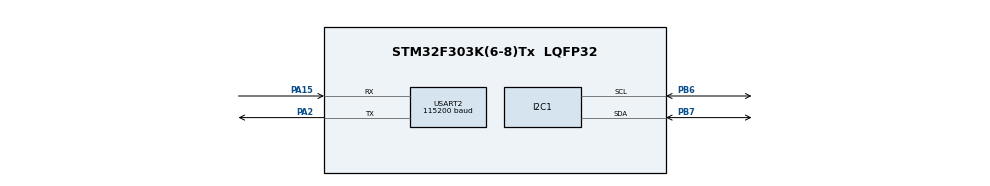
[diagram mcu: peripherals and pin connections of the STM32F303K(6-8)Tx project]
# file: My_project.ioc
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Dma.Request0=USART2_TX
Dma.USART2_TX.0.Direction=DMA_MEMORY_TO_PERIPH
Dma.USART2_TX.0.Instance=DMA1_Channel7
Dma.USART2_TX.0.MemDataAlignment=DMA_MDATAALIGN_BYTE
Dma.USART2_TX.0.MemInc=DMA_MINC_ENABLE
Dma.USART2_TX.0.Mode=DMA_NORMAL
Dma.USART2_TX.0.PeriphDataAlignment=DMA_PDATAALIGN_BYTE
Dma.USART2_TX.0.PeriphInc=DMA_PINC_DISABLE
Dma.USART2_TX.0.Priority=DMA_PRIORITY_LOW
I2C1.Timing=0x00201D2B
Mcu.Family=STM32F3
Mcu.Name=STM32F303K(6-8)Tx
Mcu.Package=LQFP32
NVIC.DMA1_Channel7_IRQn=true\:0\:0\:false\:false\:true\:false\:true\:true
NVIC.I2C1_EV_IRQn=true\:0\:0\:false\:false\:true\:true\:true\:true
NVIC.PriorityGroup=NVIC_PRIORITYGROUP_4
PA15.Mode=Asynchronous
PA15.Signal=USART2_RX
PA2.Mode=Asynchronous
PA2.Signal=USART2_TX
PB6.Mode=I2C
PB6.Signal=I2C1_SCL
PB7.Mode=I2C
PB7.Signal=I2C1_SDA
ProjectManager.HeapSize=0x200
ProjectManager.StackSize=0x400
ProjectManager.TargetToolchain=STM32CubeIDE
RCC.AHBFreq_Value=64000000
RCC.APB1CLKDivider=RCC_HCLK_DIV2
RCC.APB1Freq_Value=32000000
RCC.APB1TimFreq_Value=64000000
RCC.APB2Freq_Value=64000000
RCC.APB2TimFreq_Value=64000000
RCC.CortexFreq_Value=64000000
RCC.HCLKFreq_Value=64000000
RCC.HSE_VALUE=8000000
RCC.HSI_VALUE=8000000
RCC.PLLMUL=RCC_PLL_MUL16
RCC.SYSCLKFreq_VALUE=64000000
RCC.SYSCLKSourceVirtual=RCC_SYSCLKSOURCE_PLLCLK
USART2.BaudRate=115200
USART2.VirtualMode-Asynchronous=VM_ASYNC
board=custom

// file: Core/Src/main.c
/* USER CODE BEGIN Header */
/**
  ******************************************************************************
  * @file           : main.c
  * @brief          : Main program body
  ******************************************************************************
  * @attention
  *
  * Copyright (c) 2026 STMicroelectronics.
  * All rights reserved.
  *
  * This software is licensed under terms that can be found in the LICENSE file
  * in the root directory of this software component.
  * If no LICENSE file comes with this software, it is provided AS-IS.
  *
  ******************************************************************************
  */
/* USER CODE END Header */
#include "main.h"
#include "dma.h"
#include "i2c.h"
#include "usart.h"
#include "gpio.h"

/* USER CODE BEGIN Includes */
#include "hts221.h"
#include "lps22hb.h"
#include <stdio.h>

/* USER CODE END Includes */

void SystemClock_Config(void);

/* USER CODE BEGIN 0 */
	volatile uint32_t system_ticks = 0;
	uint32_t last_interrupt_time = 0;
	HTS221_t hts221;
	LPS22HB_t LPS22HB;
	char tx_buffer[128];
	float temp, hum, press, alt;
/* USER CODE END 0 */

int main(void)
{

  /* MCU Configuration--------------------------------------------------------*/

  /* Reset of all peripherals, Initializes the Flash interface and the Systick. */
  LL_APB2_GRP1_EnableClock(LL_APB2_GRP1_PERIPH_SYSCFG);
  LL_APB1_GRP1_EnableClock(LL_APB1_GRP1_PERIPH_PWR);

  /* System interrupt init*/
  NVIC_SetPriorityGrouping(NVIC_PRIORITYGROUP_4);

  /* SysTick_IRQn interrupt configuration */
  NVIC_SetPriority(SysTick_IRQn, NVIC_EncodePriority(NVIC_GetPriorityGrouping(),15, 0));

  /* Configure the system clock */
  SystemClock_Config();

  /* Initialize all configured peripherals */
  MX_GPIO_Init();
  MX_DMA_Init();
  MX_USART2_UART_Init();
  MX_I2C1_Init();
  /* USER CODE BEGIN 2 */

  LL_mDelay(50);

  // debug input
  char init_msg[] = "System Init...\r\n";
  USART2_PutBuffer((uint8_t*)init_msg, 16);

  uint8_t sensors_ok = 0;
  for (int attempt = 0; attempt < 5 && !sensors_ok; attempt++) {
      sensors_ok = (HTS221_Init(&hts221, STM32_I2C_Write, STM32_I2C_Read) == 0) &&
                   (LPS22HB_Init(&LPS22HB, STM32_I2C_Write, STM32_I2C_Read) == 0);
      if (!sensors_ok) {
          LL_mDelay(100);
      }
  }
  if (!sensors_ok) {
      while (1) {}   // sensors do not respond
  }

  LL_mDelay(100);    // waiting for the first connection
  LPS22HB_SetReferencePressure(&LPS22HB);

  /* USER CODE END 2 */

  /* Infinite loop */
  	while (1)
  	{

    /* USER CODE BEGIN 3 */
  	    temp = LPS22HB_ReadTemperature(&LPS22HB);
  	    hum = HTS221_ReadHumidity(&hts221);
  	    press = LPS22HB_ReadPressure(&LPS22HB);
  	    alt = LPS22HB_GetRelativeAltitude(&LPS22HB);

  	    int len = snprintf(tx_buffer, sizeof(tx_buffer), "%.1f,%.0f,%.2f,%.2f\r\n", temp, hum, press, alt);
  	    USART2_PutBuffer((uint8_t *)tx_buffer, len);

		LL_mDelay(100);
  	}
  /* USER CODE END 3 */
}

void SystemClock_Config(void)
{
  LL_FLASH_SetLatency(LL_FLASH_LATENCY_2);
  while(LL_FLASH_GetLatency()!= LL_FLASH_LATENCY_2)
  {
  }
  LL_RCC_HSI_Enable();

   /* Wait till HSI is ready */
  while(LL_RCC_HSI_IsReady() != 1)
  {

  }
  LL_RCC_HSI_SetCalibTrimming(16);
  LL_RCC_PLL_ConfigDomain_SYS(LL_RCC_PLLSOURCE_HSI_DIV_2, LL_RCC_PLL_MUL_16);
  LL_RCC_PLL_Enable();

   /* Wait till PLL is ready */
  while(LL_RCC_PLL_IsReady() != 1)
  {

  }
  LL_RCC_SetAHBPrescaler(LL_RCC_SYSCLK_DIV_1);
  LL_RCC_SetAPB1Prescaler(LL_RCC_APB1_DIV_2);
  LL_RCC_SetAPB2Prescaler(LL_RCC_APB2_DIV_1);
  LL_RCC_SetSysClkSource(LL_RCC_SYS_CLKSOURCE_PLL);

   /* Wait till System clock is ready */
  while(LL_RCC_GetSysClkSource() != LL_RCC_SYS_CLKSOURCE_STATUS_PLL)
  {

  }
  LL_Init1msTick(64000000);
  LL_SetSystemCoreClock(64000000);
  LL_RCC_SetI2CClockSource(LL_RCC_I2C1_CLKSOURCE_HSI);
}

void Error_Handler(void)
{
  __disable_irq();
  while (1)
  {
  }
}
